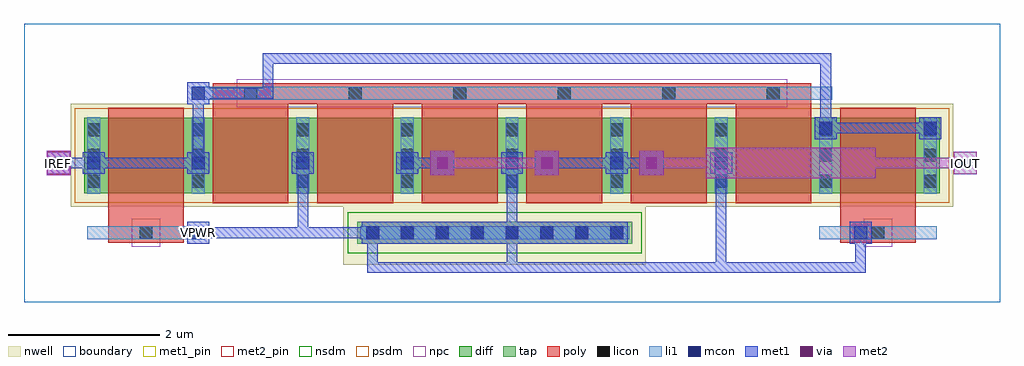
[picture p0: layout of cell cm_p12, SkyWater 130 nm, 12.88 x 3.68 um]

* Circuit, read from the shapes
.subckt cm_p12 IOUT IREF VPWR
XM1 IREF VPWR IREF VPWR sky130_fd_pr__pfet_01v8 w=1 l=1 m=2
XM2 VPWR IREF IREF VPWR sky130_fd_pr__pfet_01v8 w=1 l=1 m=2
XM3 IOUT IREF VPWR VPWR sky130_fd_pr__pfet_01v8 w=1 l=1 m=4
.ends

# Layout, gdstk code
import gdstk
lib = gdstk.Library(unit=1e-6, precision=1e-09)
def R(c, l, rs):  # rectangles x0, y0, x1, y1
    for r in rs: c.add(gdstk.rectangle(r[:2], r[2:], *l))
def A(c, l, x, y, w, h, nx, ny, dx, dy):  # array of equal rectangles
    R(c, l, [(x+i*dx, y+j*dy, x+i*dx+w, y+j*dy+h) for i in range(nx) for j in range(ny)])
nwell = (64, 20)
diff = (65, 20)
tap = (65, 44)
poly = (66, 20)
licon = (66, 44)
li1 = (67, 20)
mcon = (67, 44)
met1_pin = (68, 16)
met1 = (68, 20)
via = (68, 44)
met2_pin = (69, 16)
met2 = (69, 20)
nsdm = (93, 44)
psdm = (94, 20)
npc = (95, 20)
boundary = (235, 4)

cm_p12 = lib.new_cell('cm_p12')
R(cm_p12, nwell, [(4.215,0.5,8.205,1.26), (0.615,1.26,12.265,2.62)])
R(cm_p12, diff, [(0.795,1.44,12.085,2.44)])
R(cm_p12, tap, [(4.395,0.775,8.025,1.065)])
A(cm_p12, poly, 2.49, 1.31, 1, 1.45, 6, 1, 1.38, 0)
R(cm_p12, poly, [(1.11,0.785,2.11,1.055), (10.77,0.785,11.77,1.055), (1.11,0.92,2.11,2.57), (10.77,0.92,11.77,2.57), (2.49,2.625,10.39,2.895)])
A(cm_p12, licon, 4.515, 0.835, 0.17, 0.17, 8, 1, 0.46, 0)
A(cm_p12, licon, 0.835, 1.515, 0.17, 0.17, 9, 3, 1.38, 0.34)
A(cm_p12, licon, 2.905, 2.675, 0.17, 0.17, 6, 1, 1.38, 0)
R(cm_p12, licon, [(1.525,0.835,1.695,1.005), (11.185,0.835,11.355,1.005)])
A(cm_p12, li1, 0.835, 1.435, 0.17, 1.01, 9, 1, 1.38, 0)
R(cm_p12, li1, [(0.835,0.835,2.385,1.005), (4.435,0.835,7.985,1.005), (10.495,0.835,12.045,1.005), (2.215,2.675,10.665,2.845)])
A(cm_p12, mcon, 4.515, 0.835, 0.17, 0.17, 8, 1, 0.46, 0)
A(cm_p12, mcon, 0.835, 1.755, 0.17, 0.17, 7, 1, 1.38, 0)
R(cm_p12, mcon, [(2.215,0.835,2.385,1.005), (10.955,0.835,11.125,1.005), (10.495,2.215,10.665,2.385), (11.875,2.215,12.045,2.385), (2.215,2.675,2.385,2.845)])
R(cm_p12, met1_pin, [(2.155,0.775,2.445,1.065)])
A(cm_p12, met1, 5.36, 1.68, 0.32, 0.32, 3, 1, 1.38, 0)
A(cm_p12, met1, 0.775, 1.695, 0.29, 0.29, 7, 1, 1.38, 0)
R(cm_p12, met1, [(4.53,0.39,4.67,0.99), (4.53,0.39,6.51,0.53), (6.37,0.39,6.51,1.91), (6.37,0.39,9.27,0.53), (9.13,0.39,11.11,0.53), (9.13,0.39,9.27,1.91), (10.97,0.39,11.11,0.99), (2.155,0.775,2.445,1.065), (4.455,0.775,7.965,1.065), (10.895,0.775,11.185,1.065), (2.23,0.85,3.75,0.99), (3.61,0.85,3.75,1.91), (3.61,0.85,4.67,0.99), (4.53,0.85,4.67,0.99), (0.3,1.68,0.62,2), (0.39,1.77,0.99,1.91), (0.85,1.77,2.37,1.91), (2.23,1.77,2.37,2.83), (4.99,1.77,5.59,1.91), (6.83,1.77,7.89,1.91), (7.75,1.77,8.35,1.91), (10.435,2.155,10.725,2.445), (11.815,2.155,12.105,2.445), (10.51,2.23,12.03,2.37), (10.51,2.23,10.65,3.29), (2.155,2.615,2.445,2.905), (2.23,2.69,3.29,2.83), (3.15,2.69,3.29,3.29), (3.15,3.15,10.65,3.29)])
A(cm_p12, via, 5.445, 1.765, 0.15, 0.15, 3, 1, 1.38, 0)
R(cm_p12, via, [(0.385,1.765,0.535,1.915)])
R(cm_p12, met2_pin, [(0.31,1.69,0.61,1.99), (12.27,1.69,12.57,1.99)])
A(cm_p12, met2, 5.36, 1.68, 0.32, 0.32, 3, 1, 1.38, 0)
R(cm_p12, met2, [(9,1.64,11.24,2.04), (0.3,1.68,0.62,2), (0.31,1.69,0.61,1.99), (12.27,1.69,12.57,1.99), (0.39,1.77,0.53,1.91), (5.45,1.77,6.97,1.91), (8.21,1.77,9.27,1.91), (10.97,1.77,12.49,1.91), (12.35,1.77,12.49,1.91)])
R(cm_p12, nsdm, [(4.27,0.65,8.15,1.19)])
R(cm_p12, psdm, [(0.67,1.315,12.21,2.565)])
R(cm_p12, npc, [(1.425,0.735,1.795,1.105), (11.085,0.735,11.455,1.105), (2.805,2.575,10.075,2.945)])
R(cm_p12, boundary, [(0,0,12.88,3.68)])
cm_p12.add(gdstk.Label('VPWR', (2.3,0.92), layer=68, texttype=5))
cm_p12.add(gdstk.Label('IREF', (0.46,1.84), layer=69, texttype=5))
cm_p12.add(gdstk.Label('IOUT', (12.42,1.84), layer=69, texttype=5))
cm_p12.add(gdstk.Label('VPWR', (2.3,0.92), layer=68, texttype=16))
cm_p12.add(gdstk.Label('IREF', (0.46,1.84), layer=69, texttype=16))
cm_p12.add(gdstk.Label('IOUT', (12.42,1.84), layer=69, texttype=16))

lib.write_gds('cm_p12.gds')
